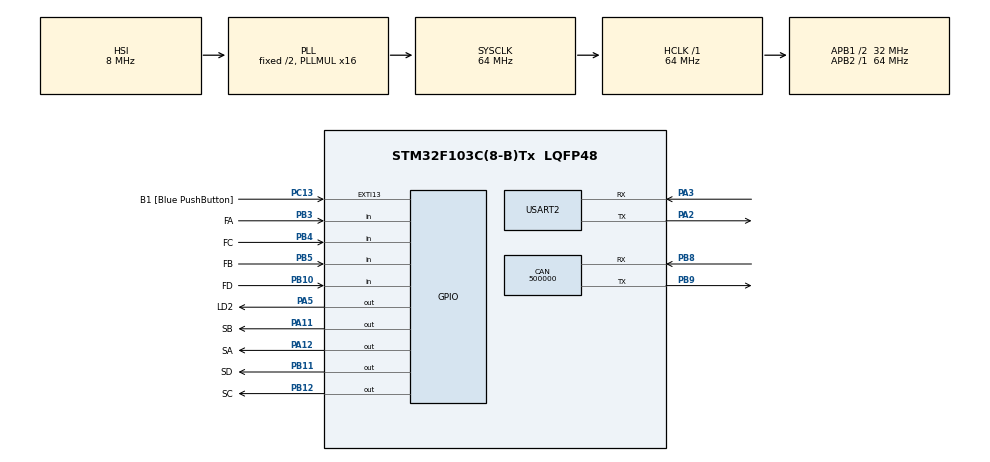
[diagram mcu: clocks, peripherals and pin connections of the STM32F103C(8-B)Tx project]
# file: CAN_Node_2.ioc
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CAN.BS1=CAN_BS1_2TQ
CAN.CalculateBaudRate=500000
CAN.CalculateTimeBit=2000
CAN.CalculateTimeQuantum=500.0
Mcu.Family=STM32F1
Mcu.Name=STM32F103C(8-B)Tx
Mcu.Package=LQFP48
NVIC.CAN1_RX1_IRQn=true\:3\:0\:true\:false\:true\:true\:true\:true
NVIC.EXTI15_10_IRQn=true\:0\:0\:false\:false\:true\:true\:true\:true
NVIC.PriorityGroup=NVIC_PRIORITYGROUP_4
PA11.GPIO_Label=SB
PA11.GPIO_ModeDefaultOutputPP=GPIO_MODE_OUTPUT_PP
PA11.GPIO_PuPd=GPIO_NOPULL
PA11.PinState=GPIO_PIN_RESET
PA11.Signal=GPIO_Output
PA12.GPIO_Label=SA
PA12.GPIO_ModeDefaultOutputPP=GPIO_MODE_OUTPUT_PP
PA12.GPIO_PuPd=GPIO_NOPULL
PA12.PinState=GPIO_PIN_RESET
PA12.Signal=GPIO_Output
PA13.Mode=Serial_Wire
PA13.Signal=SYS_JTMS-SWDIO
PA14.Mode=Serial_Wire
PA14.Signal=SYS_JTCK-SWCLK
PA2.Mode=Asynchronous
PA2.Signal=USART2_TX
PA3.Mode=Asynchronous
PA3.Signal=USART2_RX
PA5.GPIO_Label=LD2
PA5.Signal=GPIO_Output
PB10.GPIO_Label=FD
PB10.Signal=GPIO_Input
PB11.GPIO_Label=SD
PB11.GPIO_ModeDefaultOutputPP=GPIO_MODE_OUTPUT_PP
PB11.GPIO_PuPd=GPIO_NOPULL
PB11.PinState=GPIO_PIN_RESET
PB11.Signal=GPIO_Output
PB12.GPIO_Label=SC
PB12.GPIO_ModeDefaultOutputPP=GPIO_MODE_OUTPUT_PP
PB12.GPIO_PuPd=GPIO_NOPULL
PB12.PinState=GPIO_PIN_RESET
PB12.Signal=GPIO_Output
PB3.GPIO_Label=FA
PB3.GPIO_PuPd=GPIO_NOPULL
PB3.Signal=GPIO_Input
PB4.GPIO_Label=FC
PB4.GPIO_PuPd=GPIO_NOPULL
PB4.Signal=GPIO_Input
PB5.GPIO_Label=FB
PB5.GPIO_PuPd=GPIO_NOPULL
PB5.Signal=GPIO_Input
PB8.Mode=CAN_Activate
PB8.Signal=CAN_RX
PB9.Mode=CAN_Activate
PB9.Signal=CAN_TX
PC13-TAMPER-RTC.GPIO_Label=B1 [Blue PushButton]
PC13-TAMPER-RTC.Signal=GPXTI13
ProjectManager.HeapSize=0x200
ProjectManager.StackSize=0x400
ProjectManager.TargetToolchain=STM32CubeIDE
RCC.AHBFreq_Value=64000000
RCC.APB1CLKDivider=RCC_HCLK_DIV2
RCC.APB1Freq_Value=32000000
RCC.APB1TimFreq_Value=64000000
RCC.APB2Freq_Value=64000000
RCC.APB2TimFreq_Value=64000000
RCC.HCLKFreq_Value=64000000
RCC.PLLMUL=RCC_PLL_MUL16
RCC.SYSCLKFreq_VALUE=64000000
RCC.SYSCLKSource=RCC_SYSCLKSOURCE_PLLCLK
RCC.USBFreq_Value=64000000
USART2.VirtualMode=VM_ASYNC
board=custom

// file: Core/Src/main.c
/* USER CODE BEGIN Header */
/**
  ******************************************************************************
  * @file           : main.c
  * @brief          : Main program body
  ******************************************************************************
  * @attention
  *
  * Copyright (c) 2023 STMicroelectronics.
  * All rights reserved.
  *
  * This software is licensed under terms that can be found in the LICENSE file
  * in the root directory of this software component.
  * If no LICENSE file comes with this software, it is provided AS-IS.
  *
  ******************************************************************************
  */
/* USER CODE END Header */
#include "main.h"

/* USER CODE BEGIN Includes */
#include <stdio.h>
#include <math.h>
/* USER CODE END Includes */

/* USER CODE BEGIN PD */
#define PDU_ADD		0x01
#define DISCHARGE	0x05
#define PRECHARGE	0x03
#define OFF			0x00
/* USER CODE END PD */

CAN_HandleTypeDef hcan;

UART_HandleTypeDef huart2;

/* USER CODE BEGIN PV */
GPIO_TypeDef* GPIO_Port_List[4] = {SA_GPIO_Port, SB_GPIO_Port, SC_GPIO_Port, SD_GPIO_Port};
uint16_t GPIO_Pin_List[4] = {SA_Pin, SB_Pin, SC_Pin, SD_Pin};

GPIO_TypeDef* Feedback_Port_List[4] = {FA_GPIO_Port, FB_GPIO_Port, FC_GPIO_Port, FD_GPIO_Port};
uint16_t Feedback_Pin_List[4] = {FA_Pin, FB_Pin, FC_Pin, FD_Pin};
int Feedback_State[4] = {0};
uint8_t Feedback_Bit = 0;
int Error_Flag = 1;

CAN_RxHeaderTypeDef RxHeader;
uint8_t RxData[8];

int flag = 0;
/* USER CODE END PV */

void SystemClock_Config(void);
static void MX_GPIO_Init(void);
static void MX_CAN_Init(void);
static void MX_USART2_UART_Init(void);
/* USER CODE BEGIN PFP */

//	wyswietlanie tekstu
int __io_putchar(int ch)
{
    if (ch == '\n') {
        uint8_t ch2 = '\r';
        HAL_UART_Transmit(&huart2, &ch2, 1, HAL_MAX_DELAY);
    }

    HAL_UART_Transmit(&huart2, (uint8_t*)&ch, 1, HAL_MAX_DELAY);
    return 1;
}

/* Funkcja czyta wartosci outputow dla poszczegolnych Feedbackow i zapisuje w liscie.
 * Oprocz tego przelicza ja na hex i porownuje z ta otrzymana w ramce
 * (brak rownosci oznacza krytyczny blad i PDU powinno zostac odlaczone TODO ).*/
int ReadFeedback(){
	int result;
	GPIO_PinState Feedback_Status;
	double Bit_Place = 0.0;
	Feedback_Bit = 0;
	int Feedback_Length = sizeof(Feedback_State) / sizeof(Feedback_State[0]);
	for(int i=0; i<Feedback_Length; i++){
		Feedback_Status = HAL_GPIO_ReadPin(Feedback_Port_List[i], Feedback_Pin_List[i]);
		(Feedback_Status==GPIO_PIN_SET) ? (Feedback_State[i]=1) : (Feedback_State[i]=0);
		Bit_Place = pow(2.0, (double)i);
		Feedback_Bit += Feedback_State[i] * (int)Bit_Place;
	}
	(RxData[0]==Feedback_Bit) ? (result=0) : (result=-1);
	return result;
}

//	TODO
void CriticalFailure(){
	printf("TODO");
}

void Precharge(){	//	SA = 1, SB = 1, SC = 0 , SD = 0
	//	SA = 1
	HAL_GPIO_WritePin(GPIO_Port_List[0], GPIO_Pin_List[0], GPIO_PIN_SET);
	HAL_Delay(500);
	//	SB = 1
	HAL_GPIO_WritePin(GPIO_Port_List[1], GPIO_Pin_List[1], GPIO_PIN_SET);
	HAL_Delay(500);
	//	SC = 0
	HAL_GPIO_WritePin(GPIO_Port_List[2], GPIO_Pin_List[2], GPIO_PIN_RESET);
	//	SD = 0
	HAL_GPIO_WritePin(GPIO_Port_List[3], GPIO_Pin_List[3], GPIO_PIN_RESET);
}

void Discharge(){	//	SA = 1, SB = 0, SC = 1 , SD = 0
	//	SA = 1
	HAL_GPIO_WritePin(GPIO_Port_List[0], GPIO_Pin_List[0], GPIO_PIN_SET);
	HAL_Delay(500);
	//	SB = 0
	HAL_GPIO_WritePin(GPIO_Port_List[1], GPIO_Pin_List[1], GPIO_PIN_RESET);
	HAL_Delay(500);
	//	SC = 1
	HAL_GPIO_WritePin(GPIO_Port_List[2], GPIO_Pin_List[2], GPIO_PIN_SET);
	HAL_Delay(500);
	//	SD = 0
	HAL_GPIO_WritePin(GPIO_Port_List[3], GPIO_Pin_List[3], GPIO_PIN_RESET);
	HAL_Delay(500);
}

void Off(){	//	SA = 0, SB = 0, SC = 0, SD = 0
	//	SC = 0
	HAL_GPIO_WritePin(GPIO_Port_List[2], GPIO_Pin_List[2], GPIO_PIN_RESET);
	HAL_Delay(500);
	//	SA = 0
	HAL_GPIO_WritePin(GPIO_Port_List[0], GPIO_Pin_List[0], GPIO_PIN_RESET);
	//	SB = 0
	HAL_GPIO_WritePin(GPIO_Port_List[1], GPIO_Pin_List[1], GPIO_PIN_RESET);
	//	SD = 0
	HAL_GPIO_WritePin(GPIO_Port_List[3], GPIO_Pin_List[3], GPIO_PIN_RESET);
}

//	INTERRUPTS
void HAL_GPIO_EXTI_Callback(uint16_t GPIO_Pin){
	if(GPIO_Pin == B1_Pin){
		printf("FA: %d; FB: %d; FC: %d; FD: %d\n", Feedback_State[0], Feedback_State[1], Feedback_State[2], Feedback_State[3]);
		printf("Feedback bit: %x\n", Feedback_Bit);
		(Error_Flag==0) ? printf("Good\n") : printf("Failure\n");
	}
}

//Funkcja odbierająca dane z CAN
void HAL_CAN_RxFifo1MsgPendingCallback(CAN_HandleTypeDef *hcan){
	HAL_CAN_GetRxMessage(hcan, CAN_RX_FIFO1, &RxHeader, RxData);
	flag = 1;
}

/* USER CODE END PFP */

int main(void)
{

  /* MCU Configuration--------------------------------------------------------*/

  /* Reset of all peripherals, Initializes the Flash interface and the Systick. */
  HAL_Init();

  /* Configure the system clock */
  SystemClock_Config();

  /* Initialize all configured peripherals */
  MX_GPIO_Init();
  MX_CAN_Init();
  MX_USART2_UART_Init();
  /* USER CODE BEGIN 2 */

  //Uruchomienie diody sprawdzajacej czy kontroler poprawnie dziala
  HAL_GPIO_WritePin(LD2_GPIO_Port, LD2_Pin, GPIO_PIN_SET);

  //Callback na przychodzącą wiadomość po CAN
  HAL_CAN_ActivateNotification(&hcan, CAN_IT_RX_FIFO1_MSG_PENDING);

  /* USER CODE END 2 */

  /* Infinite loop */
  /* USER CODE BEGIN WHILE */
  while (1)
  {
	  if (flag == 1){
		  flag = 0;
		  if(RxHeader.StdId==PDU_ADD){
			  switch(RxData[0]){
			  case DISCHARGE:
				  Discharge();
				  break;
			  case PRECHARGE:
				  Precharge();
				  break;
			  case OFF:
				  Off();
				  break;
			  default:
				  break;
			  }
		  }
	  }
	  Error_Flag = ReadFeedback();
  }
    /* USER CODE END WHILE */

}

void SystemClock_Config(void)
{
  RCC_OscInitTypeDef RCC_OscInitStruct = {0};
  RCC_ClkInitTypeDef RCC_ClkInitStruct = {0};

  /** Initializes the RCC Oscillators according to the specified parameters
  * in the RCC_OscInitTypeDef structure.
  */
  RCC_OscInitStruct.OscillatorType = RCC_OSCILLATORTYPE_HSI;
  RCC_OscInitStruct.HSIState = RCC_HSI_ON;
  RCC_OscInitStruct.HSICalibrationValue = RCC_HSICALIBRATION_DEFAULT;
  RCC_OscInitStruct.PLL.PLLState = RCC_PLL_ON;
  RCC_OscInitStruct.PLL.PLLSource = RCC_PLLSOURCE_HSI_DIV2;
  RCC_OscInitStruct.PLL.PLLMUL = RCC_PLL_MUL16;
  if (HAL_RCC_OscConfig(&RCC_OscInitStruct) != HAL_OK)
  {
    Error_Handler();
  }

  /** Initializes the CPU, AHB and APB buses clocks
  */
  RCC_ClkInitStruct.ClockType = RCC_CLOCKTYPE_HCLK|RCC_CLOCKTYPE_SYSCLK
                              |RCC_CLOCKTYPE_PCLK1|RCC_CLOCKTYPE_PCLK2;
  RCC_ClkInitStruct.SYSCLKSource = RCC_SYSCLKSOURCE_PLLCLK;
  RCC_ClkInitStruct.AHBCLKDivider = RCC_SYSCLK_DIV1;
  RCC_ClkInitStruct.APB1CLKDivider = RCC_HCLK_DIV2;
  RCC_ClkInitStruct.APB2CLKDivider = RCC_HCLK_DIV1;

  if (HAL_RCC_ClockConfig(&RCC_ClkInitStruct, FLASH_LATENCY_2) != HAL_OK)
  {
    Error_Handler();
  }
}

static void MX_CAN_Init(void)
{

  hcan.Instance = CAN1;
  hcan.Init.Prescaler = 16;
  hcan.Init.Mode = CAN_MODE_NORMAL;
  hcan.Init.SyncJumpWidth = CAN_SJW_1TQ;
  hcan.Init.TimeSeg1 = CAN_BS1_2TQ;
  hcan.Init.TimeSeg2 = CAN_BS2_1TQ;
  hcan.Init.TimeTriggeredMode = DISABLE;
  hcan.Init.AutoBusOff = DISABLE;
  hcan.Init.AutoWakeUp = DISABLE;
  hcan.Init.AutoRetransmission = DISABLE;
  hcan.Init.ReceiveFifoLocked = DISABLE;
  hcan.Init.TransmitFifoPriority = DISABLE;
  if (HAL_CAN_Init(&hcan) != HAL_OK)
  {
    Error_Handler();
  }
  /* USER CODE BEGIN CAN_Init 2 */

  HAL_CAN_Start(&hcan);

  //	CAN FILTER
  CAN_FilterTypeDef filterConf;
  filterConf.FilterActivation = CAN_FILTER_ENABLE;
  filterConf.FilterBank = 0;
  filterConf.FilterFIFOAssignment = CAN_FILTER_FIFO1;
  filterConf.FilterIdHigh = 0x1<<5;
  filterConf.FilterIdLow = 0;
  filterConf.FilterMaskIdHigh = 0x1<<5;
  filterConf.FilterMaskIdLow = 0;
  filterConf.FilterMode = CAN_FILTERMODE_IDMASK;
  filterConf.FilterScale = CAN_FILTERSCALE_32BIT;
  HAL_CAN_ConfigFilter(&hcan, &filterConf);

  /* USER CODE END CAN_Init 2 */

}

static void MX_USART2_UART_Init(void)
{

  huart2.Instance = USART2;
  huart2.Init.BaudRate = 115200;
  huart2.Init.WordLength = UART_WORDLENGTH_8B;
  huart2.Init.StopBits = UART_STOPBITS_1;
  huart2.Init.Parity = UART_PARITY_NONE;
  huart2.Init.Mode = UART_MODE_TX_RX;
  huart2.Init.HwFlowCtl = UART_HWCONTROL_NONE;
  huart2.Init.OverSampling = UART_OVERSAMPLING_16;
  if (HAL_UART_Init(&huart2) != HAL_OK)
  {
    Error_Handler();
  }

}

static void MX_GPIO_Init(void)
{
  GPIO_InitTypeDef GPIO_InitStruct = {0};

  /* GPIO Ports Clock Enable */
  __HAL_RCC_GPIOC_CLK_ENABLE();
  __HAL_RCC_GPIOA_CLK_ENABLE();
  __HAL_RCC_GPIOB_CLK_ENABLE();

  /*Configure GPIO pin Output Level */
  HAL_GPIO_WritePin(GPIOA, LD2_Pin|SB_Pin|SA_Pin, GPIO_PIN_RESET);

  /*Configure GPIO pin Output Level */
  HAL_GPIO_WritePin(GPIOB, SD_Pin|SC_Pin, GPIO_PIN_RESET);

  /*Configure GPIO pin : B1_Pin */
  GPIO_InitStruct.Pin = B1_Pin;
  GPIO_InitStruct.Mode = GPIO_MODE_IT_RISING;
  GPIO_InitStruct.Pull = GPIO_NOPULL;
  HAL_GPIO_Init(B1_GPIO_Port, &GPIO_InitStruct);

  /*Configure GPIO pins : LD2_Pin SB_Pin SA_Pin */
  GPIO_InitStruct.Pin = LD2_Pin|SB_Pin|SA_Pin;
  GPIO_InitStruct.Mode = GPIO_MODE_OUTPUT_PP;
  GPIO_InitStruct.Pull = GPIO_NOPULL;
  GPIO_InitStruct.Speed = GPIO_SPEED_FREQ_LOW;
  HAL_GPIO_Init(GPIOA, &GPIO_InitStruct);

  /*Configure GPIO pins : FD_Pin FA_Pin FC_Pin FB_Pin */
  GPIO_InitStruct.Pin = FD_Pin|FA_Pin|FC_Pin|FB_Pin;
  GPIO_InitStruct.Mode = GPIO_MODE_INPUT;
  GPIO_InitStruct.Pull = GPIO_NOPULL;
  HAL_GPIO_Init(GPIOB, &GPIO_InitStruct);

  /*Configure GPIO pins : SD_Pin SC_Pin */
  GPIO_InitStruct.Pin = SD_Pin|SC_Pin;
  GPIO_InitStruct.Mode = GPIO_MODE_OUTPUT_PP;
  GPIO_InitStruct.Pull = GPIO_NOPULL;
  GPIO_InitStruct.Speed = GPIO_SPEED_FREQ_LOW;
  HAL_GPIO_Init(GPIOB, &GPIO_InitStruct);

  /* EXTI interrupt init*/
  HAL_NVIC_SetPriority(EXTI15_10_IRQn, 0, 0);
  HAL_NVIC_EnableIRQ(EXTI15_10_IRQn);

}

void Error_Handler(void)
{
  __disable_irq();
  while (1)
  {
  }
}
